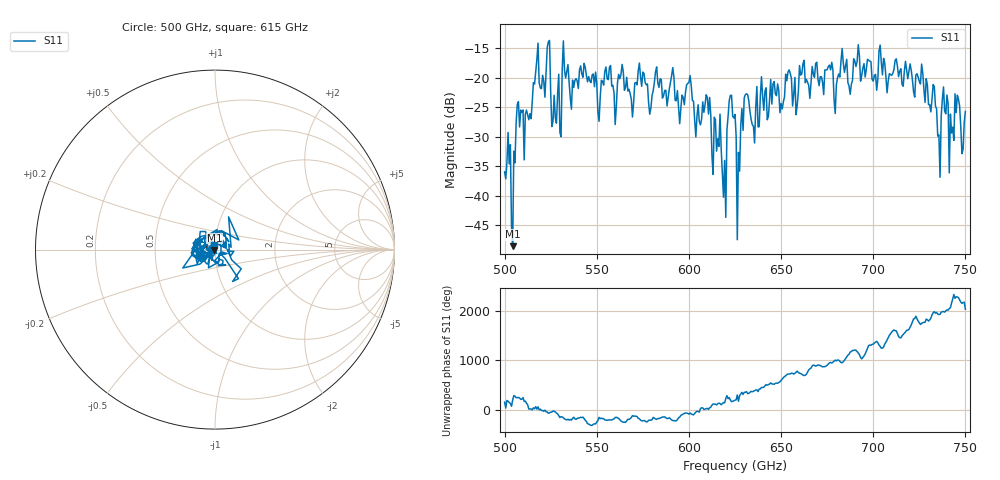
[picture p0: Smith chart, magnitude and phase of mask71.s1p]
!Created with skrf (http://scikit-rf.org).
# GHz S MA R 50.0
!freq magS11 angS11
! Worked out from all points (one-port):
!   401 points, 500 GHz to 750 GHz, reference 50 ohm
!   lowest |S11| = -48.6 dB at 504.4 GHz (marker M1), VSWR 1.01, Z = 49.7 - j0.149 ohm
!   |S11| at or under -10 dB: start of sweep to end of sweep
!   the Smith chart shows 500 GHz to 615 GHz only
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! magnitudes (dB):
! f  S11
! 500 GHz  -36.0
! 504.4 GHz  -48.6
! 507.5 GHz  -24.0
! 511.9 GHz  -25.5
! 516.9 GHz  -19.1
! 523.8 GHz  -13.9
! 526.9 GHz  -23.0
! 531.2 GHz  -18.6
! 533.1 GHz  -20.0
! 562.5 GHz  -20.1
! 593.8 GHz  -22.2
! 610 GHz  -23.3
! 618.8 GHz  -40.3
! 621.9 GHz  -23.8
! 625 GHz  -26.2
! 626.9 GHz  -32.7
! 631.2 GHz  -22.7
! 634.4 GHz  -27.9
! 656.2 GHz  -24.8
! 687.5 GHz  -22.8
! 691.2 GHz  -17.3
! 718.8 GHz  -20.1
! 733.1 GHz  -21.4
! 735.6 GHz  -29.7
! 738.8 GHz  -25.7
! 742.5 GHz  -29.4
! 745.6 GHz  -22.9
! 750 GHz  -25.7
